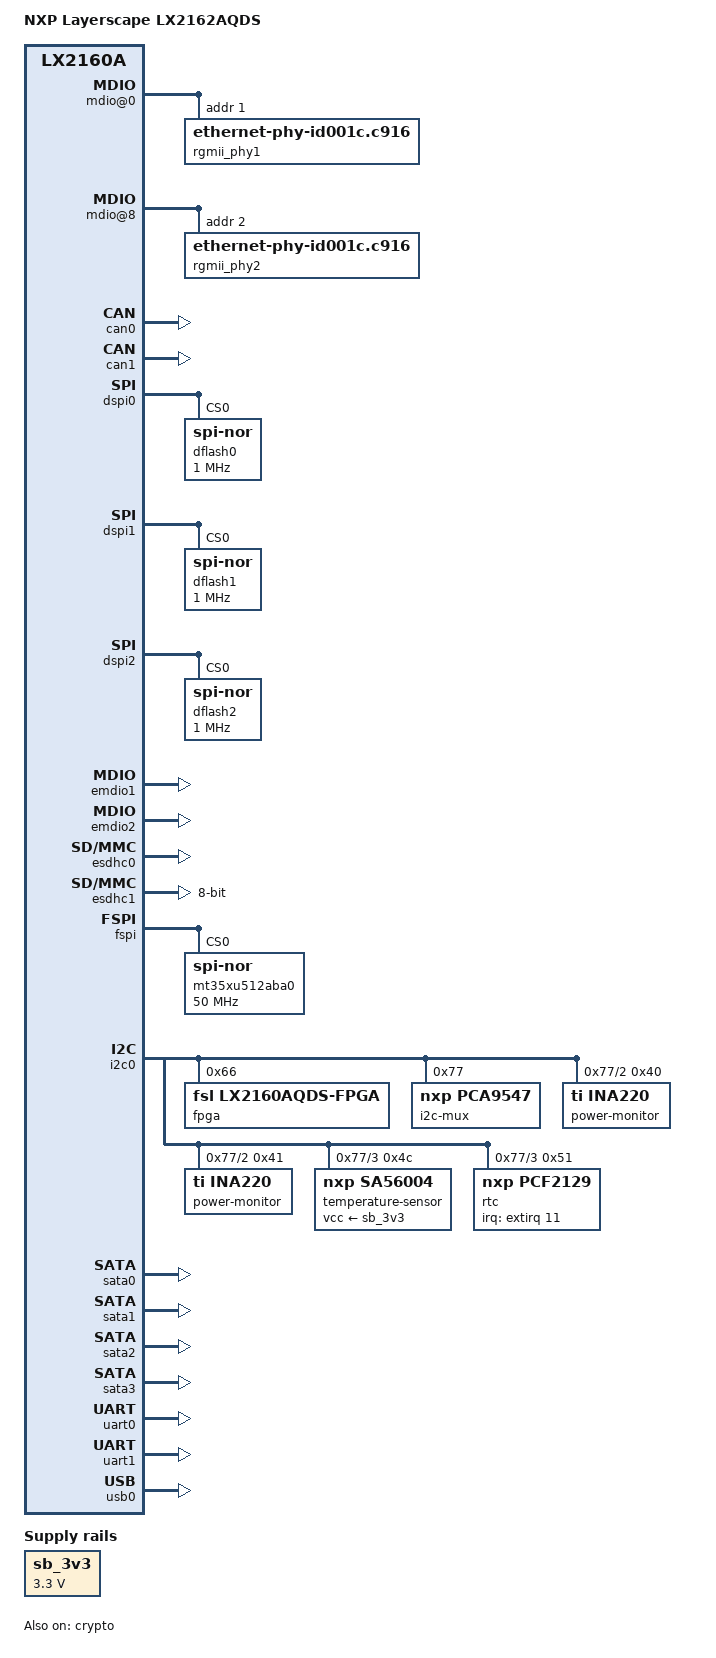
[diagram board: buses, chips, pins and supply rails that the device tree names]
// SPDX-License-Identifier: (GPL-2.0 OR MIT)
//
// Device Tree file for LX2162AQDS
//
// Copyright 2020 NXP

/dts-v1/;

#include "fsl-lx2160a.dtsi"

/ {
	model = "NXP Layerscape LX2162AQDS";
	compatible = "fsl,lx2162a-qds", "fsl,lx2160a";

	aliases {
		crypto = &crypto;
		serial0 = &uart0;
	};

	chosen {
		stdout-path = "serial0:115200n8";
	};

	sb_3v3: regulator-sb3v3 {
		compatible = "regulator-fixed";
		regulator-name = "MC34717-3.3VSB";
		regulator-min-microvolt = <3300000>;
		regulator-max-microvolt = <3300000>;
		regulator-boot-on;
		regulator-always-on;
	};

	mdio-mux-1 {
		compatible = "mdio-mux-multiplexer";
		mux-controls = <&mux 0>;
		mdio-parent-bus = <&emdio1>;
		#address-cells=<1>;
		#size-cells = <0>;

		mdio@0 { /* On-board RTL8211F PHY #1 RGMII1*/
			reg = <0x00>;
			#address-cells = <1>;
			#size-cells = <0>;

			rgmii_phy1: ethernet-phy@1 {
				compatible = "ethernet-phy-id001c.c916";
				reg = <0x1>;
				eee-broken-1000t;
			};
		};

		mdio@8 { /* On-board RTL8211F PHY #2 RGMII2*/
			reg = <0x8>;
			#address-cells = <1>;
			#size-cells = <0>;

			rgmii_phy2: ethernet-phy@2 {
				compatible = "ethernet-phy-id001c.c916";
				reg = <0x2>;
				eee-broken-1000t;
			};
		};

		mdio@18 { /* Slot #1 */
			reg = <0x18>;
			#address-cells = <1>;
			#size-cells = <0>;
		};

		mdio@19 { /* Slot #2 */
			reg = <0x19>;
			#address-cells = <1>;
			#size-cells = <0>;
		};

		mdio@1a { /* Slot #3 */
			reg = <0x1a>;
			#address-cells = <1>;
			#size-cells = <0>;
		};

		mdio@1b { /* Slot #4 */
			reg = <0x1b>;
			#address-cells = <1>;
			#size-cells = <0>;
		};

		mdio@1c { /* Slot #5 */
			reg = <0x1c>;
			#address-cells = <1>;
			#size-cells = <0>;
		};

		mdio@1d { /* Slot #6 */
			reg = <0x1d>;
			#address-cells = <1>;
			#size-cells = <0>;
		};

		mdio@1e { /* Slot #7 */
			reg = <0x1e>;
			#address-cells = <1>;
			#size-cells = <0>;
		};

		mdio@1f { /* Slot #8 */
			reg = <0x1f>;
			#address-cells = <1>;
			#size-cells = <0>;
		};
	};

	mdio-mux-2 {
		compatible = "mdio-mux-multiplexer";
		mux-controls = <&mux 1>;
		mdio-parent-bus = <&emdio2>;
		#address-cells=<1>;
		#size-cells = <0>;

		mdio@0 { /* Slot #1 (secondary EMI) */
			reg = <0x00>;
			#address-cells = <1>;
			#size-cells = <0>;
		};

		mdio@1 { /* Slot #2 (secondary EMI) */
			reg = <0x01>;
			#address-cells = <1>;
			#size-cells = <0>;
		};

		mdio@2 { /* Slot #3 (secondary EMI) */
			reg = <0x02>;
			#address-cells = <1>;
			#size-cells = <0>;
		};

		mdio@3 { /* Slot #4 (secondary EMI) */
			reg = <0x03>;
			#address-cells = <1>;
			#size-cells = <0>;
		};

		mdio@4 { /* Slot #5 (secondary EMI) */
			reg = <0x04>;
			#address-cells = <1>;
			#size-cells = <0>;
		};

		mdio@5 { /* Slot #6 (secondary EMI) */
			reg = <0x05>;
			#address-cells = <1>;
			#size-cells = <0>;
		};

		mdio@6 { /* Slot #7 (secondary EMI) */
			reg = <0x06>;
			#address-cells = <1>;
			#size-cells = <0>;
		};

		mdio@7 { /* Slot #8 (secondary EMI) */
			reg = <0x07>;
			#address-cells = <1>;
			#size-cells = <0>;
		};
	};
};

&can0 {
	status = "okay";
};

&can1 {
	status = "okay";
};

&crypto {
	status = "okay";
};

&dpmac17 {
	phy-handle = <&rgmii_phy1>;
	phy-connection-type = "rgmii-id";
};

&dpmac18 {
	phy-handle = <&rgmii_phy2>;
	phy-connection-type = "rgmii-id";
};

&dspi0 {
	status = "okay";

	dflash0: flash@0 {
		#address-cells = <1>;
		#size-cells = <1>;
		compatible = "jedec,spi-nor";
		reg = <0>;
		spi-max-frequency = <1000000>;
	};
};

&dspi1 {
	status = "okay";

	dflash1: flash@0 {
		#address-cells = <1>;
		#size-cells = <1>;
		compatible = "jedec,spi-nor";
		reg = <0>;
		spi-max-frequency = <1000000>;
	};
};

&dspi2 {
	status = "okay";

	dflash2: flash@0 {
		#address-cells = <1>;
		#size-cells = <1>;
		compatible = "jedec,spi-nor";
		reg = <0>;
		spi-max-frequency = <1000000>;
	};
};

&emdio1 {
	status = "okay";
};

&emdio2 {
	status = "okay";
};

&esdhc0 {
	sd-uhs-sdr104;
	sd-uhs-sdr50;
	sd-uhs-sdr25;
	sd-uhs-sdr12;
	status = "okay";
};

&esdhc1 {
	mmc-hs200-1_8v;
	mmc-hs400-1_8v;
	bus-width = <8>;
	status = "okay";
};

&fspi {
	status = "okay";

	mt35xu512aba0: flash@0 {
		#address-cells = <1>;
		#size-cells = <1>;
		compatible = "jedec,spi-nor";
		m25p,fast-read;
		spi-max-frequency = <50000000>;
		reg = <0>;
		spi-rx-bus-width = <8>;
		spi-tx-bus-width = <8>;
	};
};

&i2c0 {
	status = "okay";

	fpga@66 {
		compatible = "fsl,lx2160aqds-fpga", "fsl,fpga-qixis-i2c",
			     "simple-mfd";
		reg = <0x66>;

		mux: mux-controller {
			compatible = "reg-mux";
			#mux-control-cells = <1>;
			mux-reg-masks = <0x54 0xf8>, /* 0: reg 0x54, bits 7:3 */
					<0x54 0x07>; /* 1: reg 0x54, bit 2:0 */
		};
	};

	i2c-mux@77 {
		compatible = "nxp,pca9547";
		reg = <0x77>;
		#address-cells = <1>;
		#size-cells = <0>;

		i2c@2 {
			#address-cells = <1>;
			#size-cells = <0>;
			reg = <0x2>;

			power-monitor@40 {
				compatible = "ti,ina220";
				reg = <0x40>;
				shunt-resistor = <500>;
			};

			power-monitor@41 {
				compatible = "ti,ina220";
				reg = <0x41>;
				shunt-resistor = <1000>;
			};
		};

		i2c@3 {
			#address-cells = <1>;
			#size-cells = <0>;
			reg = <0x3>;

			temperature-sensor@4c {
				compatible = "nxp,sa56004";
				reg = <0x4c>;
				vcc-supply = <&sb_3v3>;
			};

			rtc@51 {
				compatible = "nxp,pcf2129";
				reg = <0x51>;
				/* IRQ_RTC_B -> IRQ11_B(CPLD) -> IRQ11(CPU), active low */
				interrupts-extended = <&extirq 11 IRQ_TYPE_LEVEL_LOW>;
			};
		};
	};
};

&sata0 {
	status = "okay";
};

&sata1 {
	status = "okay";
};

&sata2 {
	status = "okay";
};

&sata3 {
	status = "okay";
};

&uart0 {
	status = "okay";
};

&uart1 {
	status = "okay";
};

&usb0 {
	status = "okay";
};

&pcie1 {
	compatible = "fsl,ls2088a-pcie";
	reg = <0x00 0x03400000 0x0 0x00100000   /* controller registers */
	       0x80 0x00000000 0x0 0x00002000>; /* configuration space */
	reg-names = "regs", "config";
	interrupts = <GIC_SPI 108 IRQ_TYPE_LEVEL_HIGH>, /* AER interrupt */
		     <GIC_SPI 108 IRQ_TYPE_LEVEL_HIGH>, /* PME interrupt */
		     <GIC_SPI 108 IRQ_TYPE_LEVEL_HIGH>; /* controller interrupt */
	interrupt-names = "aer", "pme", "intr";
	#address-cells = <3>;
	#size-cells = <2>;
	device_type = "pci";
	dma-coherent;
	num-viewport = <8>;
	bus-range = <0x0 0xff>;
	ranges = <0x81000000 0x0 0x00000000 0x80 0x00010000 0x0 0x00010000
		  0x82000000 0x0 0x40000000 0x80 0x40000000 0x0 0x40000000>; /* non-prefetchable memory */
	msi-parent = <&its>;
	iommu-map = <0 &smmu 0 1>; /* This is fixed-up by u-boot */
	#interrupt-cells = <1>;
	interrupt-map-mask = <0 0 0 7>;
	interrupt-map = <0000 0 0 1 &gic 0 0 GIC_SPI 109 IRQ_TYPE_LEVEL_HIGH>,
			<0000 0 0 2 &gic 0 0 GIC_SPI 110 IRQ_TYPE_LEVEL_HIGH>,
			<0000 0 0 3 &gic 0 0 GIC_SPI 111 IRQ_TYPE_LEVEL_HIGH>,
			<0000 0 0 4 &gic 0 0 GIC_SPI 112 IRQ_TYPE_LEVEL_HIGH>;
	status = "disabled";
};

&pcie_ep1 {
	compatible = "fsl,lx2160ar2-pcie-ep", "fsl,ls-pcie-ep";
	reg = <0x00 0x03400000 0x0 0x00100000
	       0x80 0x00000000 0x8 0x00000000>;
	reg-names = "regs", "addr_space";
	num-ob-windows = <8>;
	num-ib-windows = <8>;
	status = "disabled";
};

&pcie2 {
	compatible = "fsl,ls2088a-pcie";
	reg = <0x00 0x03500000 0x0 0x00100000   /* controller registers */
	       0x88 0x00000000 0x0 0x00002000>; /* configuration space */
	reg-names = "regs", "config";
	interrupts = <GIC_SPI 113 IRQ_TYPE_LEVEL_HIGH>, /* AER interrupt */
		     <GIC_SPI 113 IRQ_TYPE_LEVEL_HIGH>, /* PME interrupt */
		     <GIC_SPI 113 IRQ_TYPE_LEVEL_HIGH>; /* controller interrupt */
	interrupt-names = "aer", "pme", "intr";
	#address-cells = <3>;
	#size-cells = <2>;
	device_type = "pci";
	dma-coherent;
	num-viewport = <8>;
	bus-range = <0x0 0xff>;
	ranges = <0x81000000 0x0 0x00000000 0x88 0x00010000 0x0 0x00010000
		  0x82000000 0x0 0x40000000 0x88 0x40000000 0x0 0x40000000>; /* non-prefetchable memory */
	msi-parent = <&its>;
	iommu-map = <0 &smmu 0 1>; /* This is fixed-up by u-boot */
	#interrupt-cells = <1>;
	interrupt-map-mask = <0 0 0 7>;
	interrupt-map = <0000 0 0 1 &gic 0 0 GIC_SPI 114 IRQ_TYPE_LEVEL_HIGH>,
			<0000 0 0 2 &gic 0 0 GIC_SPI 115 IRQ_TYPE_LEVEL_HIGH>,
			<0000 0 0 3 &gic 0 0 GIC_SPI 116 IRQ_TYPE_LEVEL_HIGH>,
			<0000 0 0 4 &gic 0 0 GIC_SPI 117 IRQ_TYPE_LEVEL_HIGH>;
	status = "disabled";
};

&pcie_ep2 {
	compatible = "fsl,lx2160ar2-pcie-ep", "fsl,ls-pcie-ep";
	reg = <0x00 0x03500000 0x0 0x00100000
	       0x88 0x00000000 0x8 0x00000000>;
	reg-names = "regs", "addr_space";
	num-ob-windows = <8>;
	num-ib-windows = <8>;
	status = "disabled";
};

&pcie3 {
	compatible = "fsl,ls2088a-pcie";
	reg = <0x00 0x03600000 0x0 0x00100000   /* controller registers */
	       0x90 0x00000000 0x0 0x00002000>; /* configuration space */
	reg-names = "regs", "config";
	interrupts = <GIC_SPI 118 IRQ_TYPE_LEVEL_HIGH>, /* AER interrupt */
		     <GIC_SPI 118 IRQ_TYPE_LEVEL_HIGH>, /* PME interrupt */
		     <GIC_SPI 118 IRQ_TYPE_LEVEL_HIGH>; /* controller interrupt */
	interrupt-names = "aer", "pme", "intr";
	#address-cells = <3>;
	#size-cells = <2>;
	device_type = "pci";
	dma-coherent;
	num-viewport = <256>;
	bus-range = <0x0 0xff>;
	ranges = <0x81000000 0x0 0x00000000 0x90 0x00010000 0x0 0x00010000
		  0x82000000 0x0 0x40000000 0x90 0x40000000 0x0 0x40000000>; /* non-prefetchable memory */
	msi-parent = <&its>;
	iommu-map = <0 &smmu 0 1>; /* This is fixed-up by u-boot */
	#interrupt-cells = <1>;
	interrupt-map-mask = <0 0 0 7>;
	interrupt-map = <0000 0 0 1 &gic 0 0 GIC_SPI 119 IRQ_TYPE_LEVEL_HIGH>,
			<0000 0 0 2 &gic 0 0 GIC_SPI 120 IRQ_TYPE_LEVEL_HIGH>,
			<0000 0 0 3 &gic 0 0 GIC_SPI 121 IRQ_TYPE_LEVEL_HIGH>,
			<0000 0 0 4 &gic 0 0 GIC_SPI 122 IRQ_TYPE_LEVEL_HIGH>;
	status = "disabled";
};

&pcie_ep3 {
	compatible = "fsl,lx2160ar2-pcie-ep", "fsl,ls-pcie-ep";
	reg = <0x00 0x03600000 0x0 0x00100000
	       0x90 0x00000000 0x8 0x00000000>;
	reg-names = "regs", "addr_space";
	num-ob-windows = <256>;
	num-ib-windows = <24>;
	status = "disabled";
};

&pcie4 {
	compatible = "fsl,ls2088a-pcie";
	reg = <0x00 0x03700000 0x0 0x00100000   /* controller registers */
	       0x98 0x00000000 0x0 0x00002000>; /* configuration space */
	reg-names = "regs", "config";
	interrupts = <GIC_SPI 123 IRQ_TYPE_LEVEL_HIGH>, /* AER interrupt */
		     <GIC_SPI 123 IRQ_TYPE_LEVEL_HIGH>, /* PME interrupt */
		     <GIC_SPI 123 IRQ_TYPE_LEVEL_HIGH>; /* controller interrupt */
	interrupt-names = "aer", "pme", "intr";
	#address-cells = <3>;
	#size-cells = <2>;
	device_type = "pci";
	dma-coherent;
	num-viewport = <8>;
	bus-range = <0x0 0xff>;
	ranges = <0x81000000 0x0 0x00000000 0x98 0x00010000 0x0 0x00010000
		  0x82000000 0x0 0x40000000 0x98 0x40000000 0x0 0x40000000>; /* non-prefetchable memory */
	msi-parent = <&its>;
	iommu-map = <0 &smmu 0 1>; /* This is fixed-up by u-boot */
	#interrupt-cells = <1>;
	interrupt-map-mask = <0 0 0 7>;
	interrupt-map = <0000 0 0 1 &gic 0 0 GIC_SPI 124 IRQ_TYPE_LEVEL_HIGH>,
			<0000 0 0 2 &gic 0 0 GIC_SPI 125 IRQ_TYPE_LEVEL_HIGH>,
			<0000 0 0 3 &gic 0 0 GIC_SPI 126 IRQ_TYPE_LEVEL_HIGH>,
			<0000 0 0 4 &gic 0 0 GIC_SPI 127 IRQ_TYPE_LEVEL_HIGH>;
	status = "disabled";
};

&pcie_ep4 {
	compatible = "fsl,lx2160ar2-pcie-ep", "fsl,ls-pcie-ep";
	reg = <0x00 0x03700000 0x0 0x00100000
	       0x98 0x00000000 0x8 0x00000000>;
	reg-names = "regs", "addr_space";
	num-ob-windows = <8>;
	num-ib-windows = <8>;
	status = "disabled";
};

&pcie5 {
	compatible = "fsl,ls2088a-pcie";
	reg = <0x00 0x03800000 0x0 0x00100000   /* controller registers */
	       0xa0 0x00000000 0x0 0x00002000>; /* configuration space */
	reg-names = "regs", "config";
	interrupts = <GIC_SPI 128 IRQ_TYPE_LEVEL_HIGH>, /* AER interrupt */
		     <GIC_SPI 128 IRQ_TYPE_LEVEL_HIGH>, /* PME interrupt */
		     <GIC_SPI 128 IRQ_TYPE_LEVEL_HIGH>; /* controller interrupt */
	interrupt-names = "aer", "pme", "intr";
	#address-cells = <3>;
	#size-cells = <2>;
	device_type = "pci";
	dma-coherent;
	num-viewport = <256>;
	bus-range = <0x0 0xff>;
	ranges = <0x81000000 0x0 0x00000000 0xa0 0x00010000 0x0 0x00010000
		  0x82000000 0x0 0x40000000 0xa0 0x40000000 0x0 0x40000000>; /* non-prefetchable memory */
	msi-parent = <&its>;
	iommu-map = <0 &smmu 0 1>; /* This is fixed-up by u-boot */
	#interrupt-cells = <1>;
	interrupt-map-mask = <0 0 0 7>;
	interrupt-map = <0000 0 0 1 &gic 0 0 GIC_SPI 129 IRQ_TYPE_LEVEL_HIGH>,
			<0000 0 0 2 &gic 0 0 GIC_SPI 130 IRQ_TYPE_LEVEL_HIGH>,
			<0000 0 0 3 &gic 0 0 GIC_SPI 131 IRQ_TYPE_LEVEL_HIGH>,
			<0000 0 0 4 &gic 0 0 GIC_SPI 132 IRQ_TYPE_LEVEL_HIGH>;
	status = "disabled";
};

&pcie_ep5 {
	compatible = "fsl,lx2160ar2-pcie-ep", "fsl,ls-pcie-ep";
	reg = <0x00 0x03800000 0x0 0x00100000
	       0xa0 0x00000000 0x8 0x00000000>;
	reg-names = "regs", "addr_space";
	num-ob-windows = <256>;
	num-ib-windows = <24>;
	status = "disabled";
};

&pcie6 {
	compatible = "fsl,ls2088a-pcie";
	reg = <0x00 0x03900000 0x0 0x00100000   /* controller registers */
	       0xa8 0x00000000 0x0 0x00002000>; /* configuration space */
	reg-names = "regs", "config";
	interrupts = <GIC_SPI 103 IRQ_TYPE_LEVEL_HIGH>, /* AER interrupt */
		     <GIC_SPI 103 IRQ_TYPE_LEVEL_HIGH>, /* PME interrupt */
		     <GIC_SPI 103 IRQ_TYPE_LEVEL_HIGH>; /* controller interrupt */
	interrupt-names = "aer", "pme", "intr";
	#address-cells = <3>;
	#size-cells = <2>;
	device_type = "pci";
	dma-coherent;
	num-viewport = <8>;
	bus-range = <0x0 0xff>;
	ranges = <0x81000000 0x0 0x00000000 0xa8 0x00010000 0x0 0x00010000
		  0x82000000 0x0 0x40000000 0xa8 0x40000000 0x0 0x40000000>; /* non-prefetchable memory */
	msi-parent = <&its>;
	iommu-map = <0 &smmu 0 1>; /* This is fixed-up by u-boot */
	#interrupt-cells = <1>;
	interrupt-map-mask = <0 0 0 7>;
	interrupt-map = <0000 0 0 1 &gic 0 0 GIC_SPI 104 IRQ_TYPE_LEVEL_HIGH>,
			<0000 0 0 2 &gic 0 0 GIC_SPI 105 IRQ_TYPE_LEVEL_HIGH>,
			<0000 0 0 3 &gic 0 0 GIC_SPI 106 IRQ_TYPE_LEVEL_HIGH>,
			<0000 0 0 4 &gic 0 0 GIC_SPI 107 IRQ_TYPE_LEVEL_HIGH>;
	status = "disabled";
};

&pcie_ep6 {
	compatible = "fsl,lx2160ar2-pcie-ep", "fsl,ls-pcie-ep";
	reg = <0x00 0x03900000 0x0 0x00100000
	       0xa8 0x00000000 0x8 0x00000000>;
	reg-names = "regs", "addr_space";
	num-ob-windows = <8>;
	num-ib-windows = <8>;
	status = "disabled";
};
